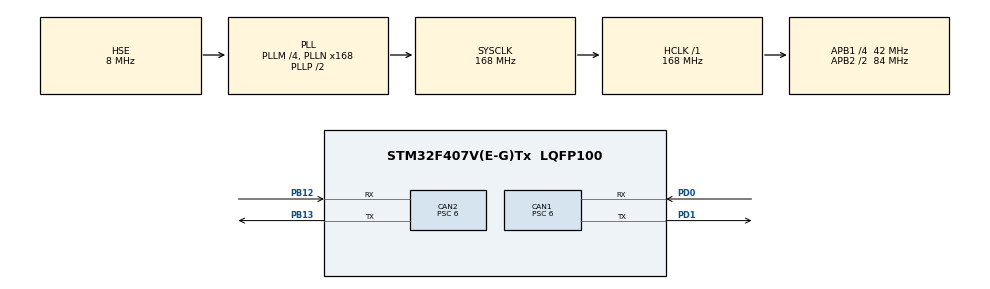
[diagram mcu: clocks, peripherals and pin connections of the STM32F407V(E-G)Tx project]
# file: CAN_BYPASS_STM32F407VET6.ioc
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CAN1.BS1=CAN_BS1_11TQ
CAN1.BS2=CAN_BS2_2TQ
CAN1.CalculateBaudRate=500000
CAN1.CalculateTimeBit=2000
CAN1.CalculateTimeQuantum=142.85714285714286
CAN1.Prescaler=6
CAN2.BS1=CAN_BS1_11TQ
CAN2.BS2=CAN_BS2_2TQ
CAN2.CalculateBaudRate=500000
CAN2.CalculateTimeBit=2000
CAN2.CalculateTimeQuantum=142.85714285714286
CAN2.Prescaler=6
FREERTOS.Queues01=CAN1RX_Data_Queue,50,CAN1_Queue_TX,0,Dynamic,NULL,NULL;CAN2RX_Data_Queue,50,CAN2_Queue_TX,0,Dynamic,NULL,NULL
FREERTOS.Tasks01=CAN1RX_Data_Pro,24,256,CAN1RX_Data_Process_Func,Default,NULL,Dynamic,NULL,NULL;CAN2RX_Data_Pro,24,256,CAN2RX_Data_Process_Func,Default,NULL,Dynamic,NULL,NULL
FREERTOS.configUSE_NEWLIB_REENTRANT=1
Mcu.Family=STM32F4
Mcu.Name=STM32F407V(E-G)Tx
Mcu.Package=LQFP100
NVIC.CAN1_RX0_IRQn=true\:5\:0\:false\:false\:true\:true\:true\:true\:true
NVIC.CAN2_RX1_IRQn=true\:5\:0\:false\:false\:true\:true\:true\:true\:true
NVIC.PriorityGroup=NVIC_PRIORITYGROUP_4
NVIC.TIM8_TRG_COM_TIM14_IRQn=true\:15\:0\:false\:false\:true\:false\:false\:true\:true
NVIC.TimeBase=TIM8_TRG_COM_TIM14_IRQn
NVIC.TimeBaseIP=TIM14
PA13.Mode=Serial_Wire
PA13.Signal=SYS_JTMS-SWDIO
PA14.Mode=Serial_Wire
PA14.Signal=SYS_JTCK-SWCLK
PB12.Mode=CAN_Activate
PB12.Signal=CAN2_RX
PB13.Mode=CAN_Activate
PB13.Signal=CAN2_TX
PD0.Mode=CAN_Activate
PD0.Signal=CAN1_RX
PD1.Mode=CAN_Activate
PD1.Signal=CAN1_TX
PH0-OSC_IN.Mode=HSE-External-Oscillator
PH0-OSC_IN.Signal=RCC_OSC_IN
PH1-OSC_OUT.Mode=HSE-External-Oscillator
PH1-OSC_OUT.Signal=RCC_OSC_OUT
ProjectManager.HeapSize=0x200
ProjectManager.StackSize=0x400
ProjectManager.TargetToolchain=STM32CubeIDE
RCC.48MHZClocksFreq_Value=84000000
RCC.AHBFreq_Value=168000000
RCC.APB1CLKDivider=RCC_HCLK_DIV4
RCC.APB1Freq_Value=42000000
RCC.APB1TimFreq_Value=84000000
RCC.APB2CLKDivider=RCC_HCLK_DIV2
RCC.APB2Freq_Value=84000000
RCC.APB2TimFreq_Value=168000000
RCC.CortexFreq_Value=168000000
RCC.HCLKFreq_Value=168000000
RCC.HSE_VALUE=8000000
RCC.HSI_VALUE=16000000
RCC.LSE_VALUE=32768
RCC.PLLM=4
RCC.PLLN=168
RCC.PLLSourceVirtual=RCC_PLLSOURCE_HSE
RCC.SYSCLKFreq_VALUE=168000000
RCC.SYSCLKSource=RCC_SYSCLKSOURCE_PLLCLK
RCC.VCOOutputFreq_Value=336000000
VP_FREERTOS_VS_CMSIS_V2.Mode=CMSIS_V2
VP_SYS_VS_tim14.Mode=TIM14
board=custom

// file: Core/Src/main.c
/* USER CODE BEGIN Header */
/**
  ******************************************************************************
  * @file           : main.c
  * @brief          : Main program body
  ******************************************************************************
  * @attention
  *
  * Copyright (c) 2025 STMicroelectronics.
  * All rights reserved.
  *
  * This software is licensed under terms that can be found in the LICENSE file
  * in the root directory of this software component.
  * If no LICENSE file comes with this software, it is provided AS-IS.
  *
  ******************************************************************************
  */
/* USER CODE END Header */
#include "main.h"
#include "cmsis_os.h"

/* USER CODE BEGIN PTD */

//*********     CAN 1    ************************************************************

CAN_RxHeaderTypeDef CAN1RX_Header;
uint8_t CAN1_Queue_TX[14];
uint8_t CAN1RX_DATA[8];
volatile uint32_t  CAN1RX_ID_Queue = 0;
volatile uint32_t  CAN1RX_IDE_DATA = 0;
volatile uint32_t  CAN1RX_DLC_DATA = 0;
volatile uint32_t  CAN1RX_Std_ID_DATA = 0;
volatile uint32_t  CAN1RX_Ext_ID_DATA = 0;
volatile uint32_t  Last_Drive_Command_Tick = 0;  //  default should be 1 important

//**********    CAN 2     **********************************************************
#define CAN2TX_StdID 500
uint8_t CAN2TX[8];
CAN_RxHeaderTypeDef CAN2RX_Header;
uint8_t CAN2_Queue_TX[14];

volatile uint8_t CAN2RX_DATA[8];
volatile uint32_t  CAN2RX_ID_Queue = 0;
volatile uint32_t  CAN2RX_IDE_DATA = 0;
volatile uint32_t  CAN2RX_DLC_DATA = 0;
volatile uint32_t  CAN2RX_Std_ID_DATA = 0;
volatile uint32_t  CAN2RX_Ext_ID_DATA = 0;
// CAN2 RX Timeout
volatile uint8_t  CAN2_Timeout_Flag = 0;  //
volatile uint32_t Last_CAN2_RX_Tick = 0;

/* USER CODE END PTD */

CAN_HandleTypeDef hcan1;
CAN_HandleTypeDef hcan2;

/* Definitions for CAN1RX_Data_Pro */
osThreadId_t CAN1RX_Data_ProHandle;
const osThreadAttr_t CAN1RX_Data_Pro_attributes = {
  .name = "CAN1RX_Data_Pro",
  .stack_size = 256 * 4,
  .priority = (osPriority_t) osPriorityNormal,
};
/* Definitions for CAN2RX_Data_Pro */
osThreadId_t CAN2RX_Data_ProHandle;
const osThreadAttr_t CAN2RX_Data_Pro_attributes = {
  .name = "CAN2RX_Data_Pro",
  .stack_size = 256 * 4,
  .priority = (osPriority_t) osPriorityNormal,
};
/* Definitions for CAN1RX_Data_Queue */
osMessageQueueId_t CAN1RX_Data_QueueHandle;
const osMessageQueueAttr_t CAN1RX_Data_Queue_attributes = {
  .name = "CAN1RX_Data_Queue"
};
/* Definitions for CAN2RX_Data_Queue */
osMessageQueueId_t CAN2RX_Data_QueueHandle;
const osMessageQueueAttr_t CAN2RX_Data_Queue_attributes = {
  .name = "CAN2RX_Data_Queue"
};

void SystemClock_Config(void);
static void MX_GPIO_Init(void);
static void MX_CAN1_Init(void);
static void MX_CAN2_Init(void);
void CAN1RX_Data_Process_Func(void *argument);
void CAN2RX_Data_Process_Func(void *argument);

/* USER CODE BEGIN 0 */

HAL_StatusTypeDef CAN_TransmitMessage_Std_ID(CAN_HandleTypeDef *hcan,uint32_t Std_ID, uint8_t *data, uint8_t len) {
    CAN_TxHeaderTypeDef TxHeader;
    uint32_t TxMailbox = 0;
    HAL_StatusTypeDef status;

    // Configure TxHeadervolatile uint16_t  Left_End_Stop_Steering  = 0;
    volatile uint16_t  Right_End_Stop_Steering = 0;
    TxHeader.StdId = Std_ID;           // Standard Identifier

    TxHeader.IDE = CAN_ID_STD;        // Standard ID

    TxHeader.RTR = CAN_RTR_DATA;      // Data frame
    TxHeader.DLC = len;               // Data Length Code
    TxHeader.TransmitGlobalTime = DISABLE;

    // Request transmission
    status = HAL_CAN_AddTxMessage(hcan, &TxHeader, data, &TxMailbox);

    if (status != HAL_OK) {
        // Transmission request failed
        return status;
    }

    // Wait until the transmission is complete
    while (HAL_CAN_IsTxMessagePending(hcan, TxMailbox));

    // Transmission successful, mailbox is freed automatically

    return HAL_OK;
}

/*
 * STD ID
 */
HAL_StatusTypeDef CAN_TransmitMessage_Ext_ID(CAN_HandleTypeDef *hcan, uint32_t Ext_ID, uint8_t *data, uint8_t len) {
    CAN_TxHeaderTypeDef TxHeader;
    uint32_t TxMailbox = 0;
    HAL_StatusTypeDef status;

    // Configure TxHeader
            // Standard Identifier
    TxHeader.ExtId = Ext_ID;            // Extended Identifier (not used in this case)

    TxHeader.IDE = CAN_ID_EXT;
    TxHeader.RTR = CAN_RTR_DATA;      // Data frame
    TxHeader.DLC = len;               // Data Length Code
    TxHeader.TransmitGlobalTime = DISABLE;

    // Request transmission
    status = HAL_CAN_AddTxMessage(hcan, &TxHeader, data, &TxMailbox);

    if (status != HAL_OK) {
        // Transmission request failed
        return status;
    }

    // Wait until the transmission is complete
    while (HAL_CAN_IsTxMessagePending(hcan, TxMailbox));

    // Transmission successful, mailbox is freed automatically
    return HAL_OK;
}

void HAL_CAN_RxFifo0MsgPendingCallback(CAN_HandleTypeDef *hcan)
{

    if (hcan->Instance == CAN1)
       {
            HAL_CAN_GetRxMessage(hcan, CAN_RX_FIFO0, &CAN1RX_Header, CAN1RX_DATA);
            // Process CAN1 Data here
            CAN1_Queue_TX[0] = CAN1RX_DATA[0];
			CAN1_Queue_TX[1] = CAN1RX_DATA[1];
			CAN1_Queue_TX[2] = CAN1RX_DATA[2];
			CAN1_Queue_TX[3] = CAN1RX_DATA[3];

			CAN1_Queue_TX[4] = CAN1RX_DATA[4];
			CAN1_Queue_TX[5] = CAN1RX_DATA[5];
			CAN1_Queue_TX[6] = CAN1RX_DATA[6];
			CAN1_Queue_TX[7] = CAN1RX_DATA[7];

			//		CAN1_RX_DLC = RxHeader.DLC;

			CAN1RX_IDE_DATA = CAN1RX_Header.IDE;
			if(CAN1RX_IDE_DATA == 0) {
				CAN1RX_Std_ID_DATA = CAN1RX_Header.StdId;
				CAN1_Queue_TX[8]  =  (CAN1RX_Std_ID_DATA >> 0)  & 0xFF;
				CAN1_Queue_TX[9]  =  (CAN1RX_Std_ID_DATA >> 8)  & 0xFF;
				CAN1_Queue_TX[10] =  (CAN1RX_Std_ID_DATA >> 16) & 0xFF;
				CAN1_Queue_TX[11] =  (CAN1RX_Std_ID_DATA >> 24) & 0xFF;
			}else {
				CAN1RX_Ext_ID_DATA = CAN1RX_Header.ExtId;
				CAN1_Queue_TX[8] =  (CAN1RX_Ext_ID_DATA >> 0)  & 0xFF;
				CAN1_Queue_TX[9] = (CAN1RX_Ext_ID_DATA >> 8)  & 0xFF;
				CAN1_Queue_TX[10] = (CAN1RX_Ext_ID_DATA >> 16) & 0xFF;
				CAN1_Queue_TX[11] = (CAN1RX_Ext_ID_DATA >> 24) & 0xFF;
			}
			CAN1_Queue_TX[12] = (uint8_t)CAN1RX_IDE_DATA;// IDE
			CAN1_Queue_TX[13] = (uint8_t)CAN1RX_Header.DLC;;// DLC
			 // Attempt to send data to the queue in a non-blocking way
			osStatus_t status = osMessageQueuePut(CAN1RX_Data_QueueHandle, CAN1_Queue_TX, 0, 0);  // No timeout, no blocking
			if (status != osOK)
			{
			  // Queue full, data not sent; could handle this or log it
			}

       }
}

void HAL_CAN_RxFifo1MsgPendingCallback(CAN_HandleTypeDef *hcan)
{

	 if (hcan->Instance == CAN2)
	 {
		HAL_CAN_GetRxMessage(hcan, CAN_RX_FIFO1, &CAN2RX_Header, CAN2RX_DATA);
		// Process CAN2 Data here
		CAN2_Queue_TX[0] = CAN2RX_DATA[0];
		CAN2_Queue_TX[1] = CAN2RX_DATA[1];
		CAN2_Queue_TX[2] = CAN2RX_DATA[2];
		CAN2_Queue_TX[3] = CAN2RX_DATA[3];

		CAN2_Queue_TX[4] = CAN2RX_DATA[4];
		CAN2_Queue_TX[5] = CAN2RX_DATA[5];
		CAN2_Queue_TX[6] = CAN2RX_DATA[6];
		CAN2_Queue_TX[7] = CAN2RX_DATA[7];

		//		CAN1_RX_DLC = RxHeader.DLC;

		CAN2RX_IDE_DATA = CAN2RX_Header.IDE;
		if(CAN2RX_IDE_DATA == 0) {
			CAN2RX_Std_ID_DATA = CAN2RX_Header.StdId;
			CAN2_Queue_TX[8]  =  (CAN2RX_Std_ID_DATA >> 0)  & 0xFF;
			CAN2_Queue_TX[9]  =  (CAN2RX_Std_ID_DATA >> 8)  & 0xFF;
			CAN2_Queue_TX[10] =  (CAN2RX_Std_ID_DATA >> 16) & 0xFF;
			CAN2_Queue_TX[11] =  (CAN2RX_Std_ID_DATA >> 24) & 0xFF;
		}else {
			CAN2RX_Ext_ID_DATA = CAN2RX_Header.ExtId;
			CAN2_Queue_TX[8] =  (CAN2RX_Ext_ID_DATA >> 0)  & 0xFF;
			CAN2_Queue_TX[9] =  (CAN2RX_Ext_ID_DATA >> 8)  & 0xFF;
			CAN2_Queue_TX[10] = (CAN2RX_Ext_ID_DATA >> 16) & 0xFF;
			CAN2_Queue_TX[11] = (CAN2RX_Ext_ID_DATA >> 24) & 0xFF;
		}
		CAN2_Queue_TX[12] = (uint8_t)CAN2RX_IDE_DATA;// IDE
		CAN2_Queue_TX[13] = (uint8_t)CAN2RX_Header.DLC;;// DLC
		 // Attempt to send data to the queue in a non-blocking way
		osStatus_t status = osMessageQueuePut(CAN2RX_Data_QueueHandle, CAN2_Queue_TX, 0, 0);  // No timeout, no blocking
		if (status != osOK)
		{
		  // Queue full, data not sent; could handle this or log it
		}

		//
		// Reset timeout timer
		Last_CAN2_RX_Tick = HAL_GetTick();
						CAN2_Timeout_Flag = 0;

	 }

}

/* USER CODE END 0 */

int main(void)
{

  /* MCU Configuration--------------------------------------------------------*/

  /* Reset of all peripherals, Initializes the Flash interface and the Systick. */
  HAL_Init();

  /* Configure the system clock */
  SystemClock_Config();

  /* Initialize all configured peripherals */
  MX_GPIO_Init();
  MX_CAN1_Init();
  MX_CAN2_Init();
  /* USER CODE BEGIN 2 */

	HAL_CAN_Start(&hcan1);
	HAL_CAN_Start(&hcan2);

	HAL_CAN_ActivateNotification(&hcan1, CAN_IT_RX_FIFO0_MSG_PENDING);//  this now
	HAL_CAN_ActivateNotification(&hcan2, CAN_IT_RX_FIFO1_MSG_PENDING);//  this now
  /* USER CODE END 2 */

  /* Init scheduler */
  osKernelInitialize();

  /* Create the queue(s) */
  /* creation of CAN1RX_Data_Queue */
  CAN1RX_Data_QueueHandle = osMessageQueueNew (50, sizeof(CAN1_Queue_TX), &CAN1RX_Data_Queue_attributes);

  /* creation of CAN2RX_Data_Queue */
  CAN2RX_Data_QueueHandle = osMessageQueueNew (50, sizeof(CAN2_Queue_TX), &CAN2RX_Data_Queue_attributes);

  /* Create the thread(s) */
  /* creation of CAN1RX_Data_Pro */
  CAN1RX_Data_ProHandle = osThreadNew(CAN1RX_Data_Process_Func, NULL, &CAN1RX_Data_Pro_attributes);

  /* creation of CAN2RX_Data_Pro */
  CAN2RX_Data_ProHandle = osThreadNew(CAN2RX_Data_Process_Func, NULL, &CAN2RX_Data_Pro_attributes);

  /* Start scheduler */
  osKernelStart();

  /* We should never get here as control is now taken by the scheduler */

  /* Infinite loop */
  while (1)
  {

  }
}

void SystemClock_Config(void)
{
  RCC_OscInitTypeDef RCC_OscInitStruct = {0};
  RCC_ClkInitTypeDef RCC_ClkInitStruct = {0};

  /** Configure the main internal regulator output voltage
  */
  __HAL_RCC_PWR_CLK_ENABLE();
  __HAL_PWR_VOLTAGESCALING_CONFIG(PWR_REGULATOR_VOLTAGE_SCALE1);

  /** Initializes the RCC Oscillators according to the specified parameters
  * in the RCC_OscInitTypeDef structure.
  */
  RCC_OscInitStruct.OscillatorType = RCC_OSCILLATORTYPE_HSE;
  RCC_OscInitStruct.HSEState = RCC_HSE_ON;
  RCC_OscInitStruct.PLL.PLLState = RCC_PLL_ON;
  RCC_OscInitStruct.PLL.PLLSource = RCC_PLLSOURCE_HSE;
  RCC_OscInitStruct.PLL.PLLM = 4;
  RCC_OscInitStruct.PLL.PLLN = 168;
  RCC_OscInitStruct.PLL.PLLP = RCC_PLLP_DIV2;
  RCC_OscInitStruct.PLL.PLLQ = 4;
  if (HAL_RCC_OscConfig(&RCC_OscInitStruct) != HAL_OK)
  {
    Error_Handler();
  }

  /** Initializes the CPU, AHB and APB buses clocks
  */
  RCC_ClkInitStruct.ClockType = RCC_CLOCKTYPE_HCLK|RCC_CLOCKTYPE_SYSCLK
                              |RCC_CLOCKTYPE_PCLK1|RCC_CLOCKTYPE_PCLK2;
  RCC_ClkInitStruct.SYSCLKSource = RCC_SYSCLKSOURCE_PLLCLK;
  RCC_ClkInitStruct.AHBCLKDivider = RCC_SYSCLK_DIV1;
  RCC_ClkInitStruct.APB1CLKDivider = RCC_HCLK_DIV4;
  RCC_ClkInitStruct.APB2CLKDivider = RCC_HCLK_DIV2;

  if (HAL_RCC_ClockConfig(&RCC_ClkInitStruct, FLASH_LATENCY_5) != HAL_OK)
  {
    Error_Handler();
  }
}

static void MX_CAN1_Init(void)
{

  hcan1.Instance = CAN1;
  hcan1.Init.Prescaler = 6;
  hcan1.Init.Mode = CAN_MODE_NORMAL;
  hcan1.Init.SyncJumpWidth = CAN_SJW_1TQ;
  hcan1.Init.TimeSeg1 = CAN_BS1_11TQ;
  hcan1.Init.TimeSeg2 = CAN_BS2_2TQ;
  hcan1.Init.TimeTriggeredMode = DISABLE;
  hcan1.Init.AutoBusOff = DISABLE;
  hcan1.Init.AutoWakeUp = DISABLE;
  hcan1.Init.AutoRetransmission = DISABLE;
  hcan1.Init.ReceiveFifoLocked = DISABLE;
  hcan1.Init.TransmitFifoPriority = DISABLE;
  if (HAL_CAN_Init(&hcan1) != HAL_OK)
  {
    Error_Handler();
  }
  /* USER CODE BEGIN CAN1_Init 2 */

  CAN_FilterTypeDef can1FilterConfig;
   can1FilterConfig.FilterBank = 0;                           // Bank 0 for CAN1
   can1FilterConfig.FilterMode = CAN_FILTERMODE_IDMASK;
   can1FilterConfig.FilterScale = CAN_FILTERSCALE_32BIT;
   can1FilterConfig.FilterIdHigh = 0x0000;
   can1FilterConfig.FilterIdLow = 0x0000;
   can1FilterConfig.FilterMaskIdHigh = 0x0000;
   can1FilterConfig.FilterMaskIdLow = 0x0000;
   can1FilterConfig.FilterFIFOAssignment = CAN_FILTER_FIFO0;  // ⬅️ FIFO0 for CAN1
   can1FilterConfig.FilterActivation = ENABLE;
   can1FilterConfig.SlaveStartFilterBank = 14;                // Split point for CAN2
   HAL_CAN_ConfigFilter(&hcan1, &can1FilterConfig);

  /* USER CODE END CAN1_Init 2 */

}

static void MX_CAN2_Init(void)
{

  hcan2.Instance = CAN2;
  hcan2.Init.Prescaler = 6;
  hcan2.Init.Mode = CAN_MODE_NORMAL;
  hcan2.Init.SyncJumpWidth = CAN_SJW_1TQ;
  hcan2.Init.TimeSeg1 = CAN_BS1_11TQ;
  hcan2.Init.TimeSeg2 = CAN_BS2_2TQ;
  hcan2.Init.TimeTriggeredMode = DISABLE;
  hcan2.Init.AutoBusOff = DISABLE;
  hcan2.Init.AutoWakeUp = DISABLE;
  hcan2.Init.AutoRetransmission = DISABLE;
  hcan2.Init.ReceiveFifoLocked = DISABLE;
  hcan2.Init.TransmitFifoPriority = DISABLE;
  if (HAL_CAN_Init(&hcan2) != HAL_OK)
  {
    Error_Handler();
  }
  /* USER CODE BEGIN CAN2_Init 2 */

  CAN_FilterTypeDef can2FilterConfig;
  can2FilterConfig.FilterBank = 14;                          // Bank 14 for CAN2
  can2FilterConfig.FilterMode = CAN_FILTERMODE_IDMASK;
  can2FilterConfig.FilterScale = CAN_FILTERSCALE_32BIT;
  can2FilterConfig.FilterIdHigh = 0x0000;
  can2FilterConfig.FilterIdLow = 0x0000;
  can2FilterConfig.FilterMaskIdHigh = 0x0000;
  can2FilterConfig.FilterMaskIdLow = 0x0000;
  can2FilterConfig.FilterFIFOAssignment = CAN_FILTER_FIFO1;  // ⬅️ FIFO1 for CAN2
  can2FilterConfig.FilterActivation = ENABLE;
  can2FilterConfig.SlaveStartFilterBank = 14;
  HAL_CAN_ConfigFilter(&hcan1, &can2FilterConfig);           // ⬅️ Use hcan1 always in CAN2
  /* USER CODE END CAN2_Init 2 */

}

static void MX_GPIO_Init(void)
{

  /* GPIO Ports Clock Enable */
  __HAL_RCC_GPIOH_CLK_ENABLE();
  __HAL_RCC_GPIOB_CLK_ENABLE();
  __HAL_RCC_GPIOA_CLK_ENABLE();
  __HAL_RCC_GPIOD_CLK_ENABLE();

}

void CAN1RX_Data_Process_Func(void *argument)
{
  /* USER CODE BEGIN 5 */

	uint8_t Received_CAN1RX[14];
	osStatus_t Status_CAN1;

  /* Infinite loop */
  for(;;)
  {
	  // Wait for and receive data from the queue
			  Status_CAN1 = osMessageQueueGet(CAN1RX_Data_QueueHandle, Received_CAN1RX, NULL, osWaitForever);
			  if (Status_CAN1 == osOK)  {
				 // Process Received_CAN1RX data
				 // Indicate processing by toggling an LED, etc.

				 // Reconstruct uint32_t from bb (Little-endian format)
				CAN1RX_ID_Queue = 	( Received_CAN1RX[8]  <<  0 ) |
									( Received_CAN1RX[9]  <<  8 ) |
									( Received_CAN1RX[10] << 16 ) |
									( Received_CAN1RX[11] << 24 );

				uint8_t CAN1_Data[8] = {Received_CAN1RX[0],Received_CAN1RX[1],Received_CAN1RX[2],Received_CAN1RX[3],
						Received_CAN1RX[4],Received_CAN1RX[5],Received_CAN1RX[6],Received_CAN1RX[7]};

				if(Received_CAN1RX[12] == 0)  {
					if (CAN_TransmitMessage_Std_ID(&hcan2, CAN1RX_ID_Queue, CAN1_Data, Received_CAN1RX[13]) == HAL_OK)
					{
					// Transmission successful
					// HAL_UART_Transmit(&huart1, CAN_ACK, 3,100);
					}
					else
					{
					// Transmission failed
					}
				} else {
						if (CAN_TransmitMessage_Ext_ID(&hcan2, CAN1RX_ID_Queue, CAN1_Data, Received_CAN1RX[13]) == HAL_OK)
						{
						// Transmission successful
						// HAL_UART_Transmit(&huart1, CAN_ACK, 3,100);
						}
						else
						{
						// Transmission failed
						}
				}

			 }

		     osDelay(1);
  }
  /* USER CODE END 5 */
}

void CAN2RX_Data_Process_Func(void *argument)
{
  /* USER CODE BEGIN CAN2RX_Data_Process_Func */

	 uint8_t Received_CAN2RX[14];
				 osStatus_t Status_CAN2;
  /* Infinite loop */
  for(;;)
  {
	  // Wait for and receive data from the queue
	 	 	 Status_CAN2 = osMessageQueueGet(CAN2RX_Data_QueueHandle, Received_CAN2RX, NULL, osWaitForever);
	 	 	 if (Status_CAN2 == osOK)  {
	 	 		 // Process Received_CAN1RX data
	 	 		 // Indicate processing by toggling an LED, etc.

	 	 		 // Reconstruct uint32_t from bb (Little-endian format)
	 	 		CAN2RX_ID_Queue =   (Received_CAN2RX[8] << 0)  |
	 	 							(Received_CAN2RX[9] << 8)  |
	 	 							(Received_CAN2RX[10] << 16) |
	 	 							(Received_CAN2RX[11] << 24);

	 	 		uint8_t CAN2_Data[8] = {Received_CAN2RX[0],Received_CAN2RX[1],Received_CAN2RX[2],Received_CAN2RX[3],
	 	 							Received_CAN2RX[4],Received_CAN2RX[5],Received_CAN2RX[6],Received_CAN2RX[7]};

	 	 					if(Received_CAN2RX[12] == 0)  {
	 	 						if (CAN_TransmitMessage_Std_ID(&hcan1, CAN2RX_ID_Queue, CAN2_Data, Received_CAN2RX[13]) == HAL_OK)
	 	 						{
	 	 						// Transmission successful
	 	 						// HAL_UART_Transmit(&huart1, CAN_ACK, 3,100);
	 	 						}
	 	 						else
	 	 						{
	 	 						// Transmission failed
	 	 						}
	 	 					} else {
	 	 							if (CAN_TransmitMessage_Ext_ID(&hcan1, CAN2RX_ID_Queue, CAN2_Data, Received_CAN2RX[13]) == HAL_OK)
	 	 							{
	 	 							// Transmission successful
	 	 							// HAL_UART_Transmit(&huart1, CAN_ACK, 3,100);
	 	 							}
	 	 							else
	 	 							{
	 	 							// Transmission failed
	 	 							}
	 	 					}

	 	 	 }
	 	     osDelay(1);
  }
  /* USER CODE END CAN2RX_Data_Process_Func */
}

void HAL_TIM_PeriodElapsedCallback(TIM_HandleTypeDef *htim)
{
  if (htim->Instance == TIM14)
  {
    HAL_IncTick();
  }
}

void Error_Handler(void)
{
  __disable_irq();
  while (1)
  {
  }
}
